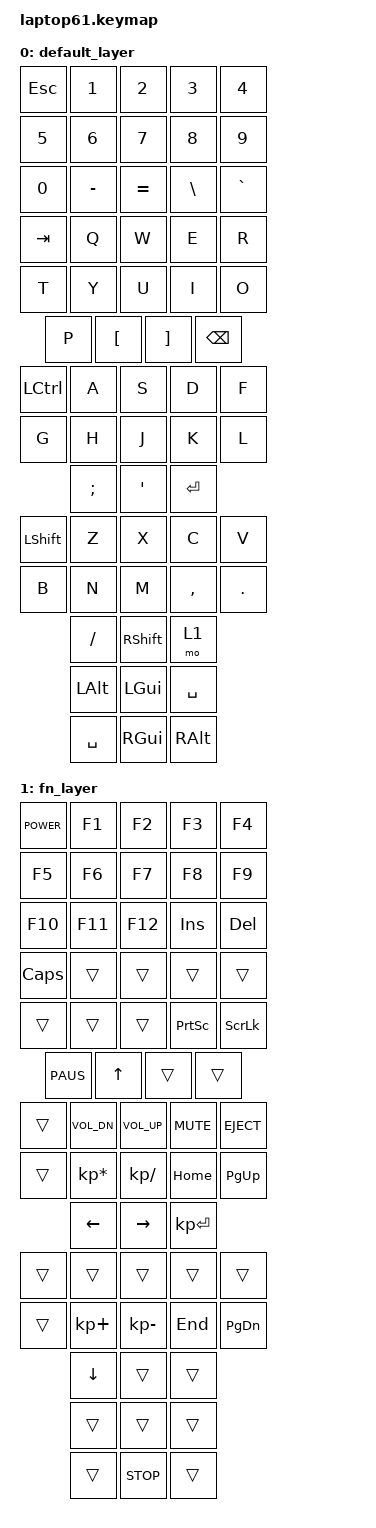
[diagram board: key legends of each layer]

#include <behaviors.dtsi>
#include <dt-bindings/zmk/keys.h>

/ {
    keymap {
        compatible = "zmk,keymap";

        default_layer {
            bindings = <
                /* 物理1段目：15キー */
                &kp ESC  &kp N1  &kp N2  &kp N3  &kp N4
                &kp N5   &kp N6  &kp N7  &kp N8  &kp N9
                &kp N0   &kp MINUS &kp EQUAL &kp BSLH &kp GRAVE

                /* 物理2段目：14キー */
                &kp TAB  &kp Q  &kp W  &kp E  &kp R
                &kp T    &kp Y  &kp U  &kp I  &kp O
                &kp P    &kp LBKT &kp RBKT &kp BSPC

                /* 物理3段目：13キー */
                &kp LCTRL &kp A &kp S &kp D &kp F
                &kp G     &kp H &kp J &kp K &kp L
                &kp SEMI  &kp APOS &kp ENTER

                /* 物理4段目：13キー */
                &kp LSHFT &kp Z &kp X &kp C &kp V
                &kp B     &kp N &kp M &kp COMMA &kp DOT
                &kp FSLH  &kp RSHFT &mo 1

                /* 物理5段目：6キー */
                &kp LALT &kp LGUI &kp SPACE
                &kp SPACE &kp RGUI &kp RALT
            >;
        };

        fn_layer {
            bindings = <
                /* 物理1段目：Esc=Power、数字列=F1〜F12 */
                &kp K_POWER &kp F1 &kp F2 &kp F3 &kp F4
                &kp F5 &kp F6 &kp F7 &kp F8 &kp F9
                &kp F10 &kp F11 &kp F12 &kp INS &kp DEL

                /* 物理2段目 */
                &kp CAPS &trans &trans &trans &trans
                &trans &trans &trans &kp PSCRN &kp SLCK
                &kp PAUS &kp UP &trans &trans

                /* 物理3段目 */
                &trans &kp K_VOL_DN &kp K_VOL_UP &kp K_MUTE &kp K_EJECT
                &trans &kp KP_MULTIPLY &kp KP_DIVIDE &kp HOME &kp PG_UP
                &kp LEFT &kp RIGHT &kp KP_ENTER

                /* 物理4段目 */
                &trans &trans &trans &trans &trans
                &trans &kp KP_PLUS &kp KP_MINUS &kp END &kp PG_DN
                &kp DOWN &trans &trans

                /* 物理5段目：右Command=Stop */
                &trans &trans &trans &trans &kp K_STOP &trans
            >;
        };
    };
};
